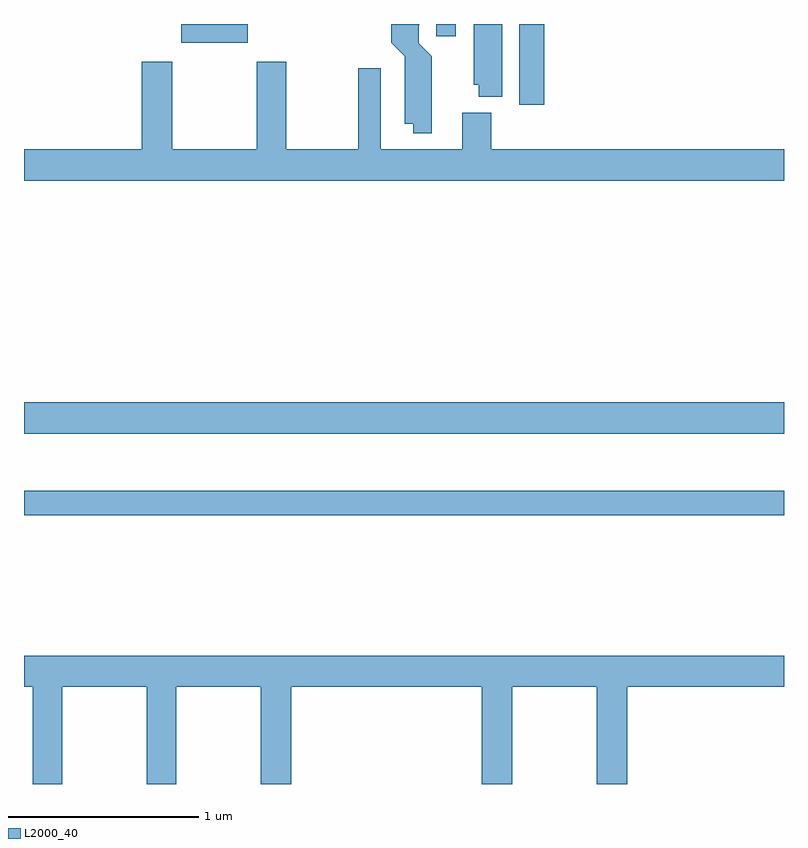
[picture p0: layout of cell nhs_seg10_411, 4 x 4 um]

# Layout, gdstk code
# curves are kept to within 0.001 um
import gdstk
lib = gdstk.Library(unit=1e-6, precision=1e-09)
def R(c, l, rs):  # rectangles x0, y0, x1, y1
    for r in rs: c.add(gdstk.rectangle(r[:2], r[2:], *l))
def P(c, l, *ps):  # polygons
    for p in ps: c.add(gdstk.Polygon(p, *l))
L2000_40 = (2000, 40)

nhs_seg10_411 = lib.new_cell('nhs_seg10_411')
R(nhs_seg10_411, L2000_40, [(131,1271.914,135,1272.043), (131,1272.344,135,1272.508), (133.607,1274.076,133.739,1274.5), (131.828,1274.402,132.178,1274.5), (133.169,1274.436,133.273,1274.5)])
P(nhs_seg10_411, L2000_40, [(133.146,1274.228),(133.147,1274.33),(133.077,1274.4),(133.077,1274.494),(133.081,1274.494),(133.081,1274.5),(132.932,1274.5),(132.932,1274.402),(133.004,1274.33),(133.004,1273.976),(133.049,1273.976),(133.049,1273.925),(133.146,1273.925)],
  [(133.516,1274.5),(133.367,1274.5),(133.367,1274.181),(133.394,1274.181),(133.394,1274.117),(133.516,1274.117)],
  [(135,1273.84),(133.46,1273.84),(133.46,1274.032),(133.307,1274.032),(133.307,1273.84),(132.877,1273.84),(132.877,1274.266),(132.76,1274.266),(132.76,1273.84),(132.381,1273.84),(132.381,1274.302),(132.226,1274.302),(132.226,1273.84),(131.781,1273.84),(131.781,1274.302),(131.621,1274.302),(131.621,1273.84),(131,1273.84),(131,1273.676),(135,1273.676)],
  [(131.202,1271.012),(131.647,1271.012),(131.647,1270.5),(131.802,1270.5),(131.802,1271.012),(132.247,1271.012),(132.247,1270.5),(132.407,1270.5),(132.407,1271.012),(133.409,1271.012),(133.409,1270.5),(133.569,1270.5),(133.569,1271.012),(134.014,1271.012),(134.014,1270.5),(134.174,1270.5),(134.174,1271.012),(135,1271.012),(135,1271.176),(131,1271.176),(131,1271.012),(131.047,1271.012),(131.047,1270.5),(131.202,1270.5)])

lib.write_gds('nhs_seg10_411.gds')
